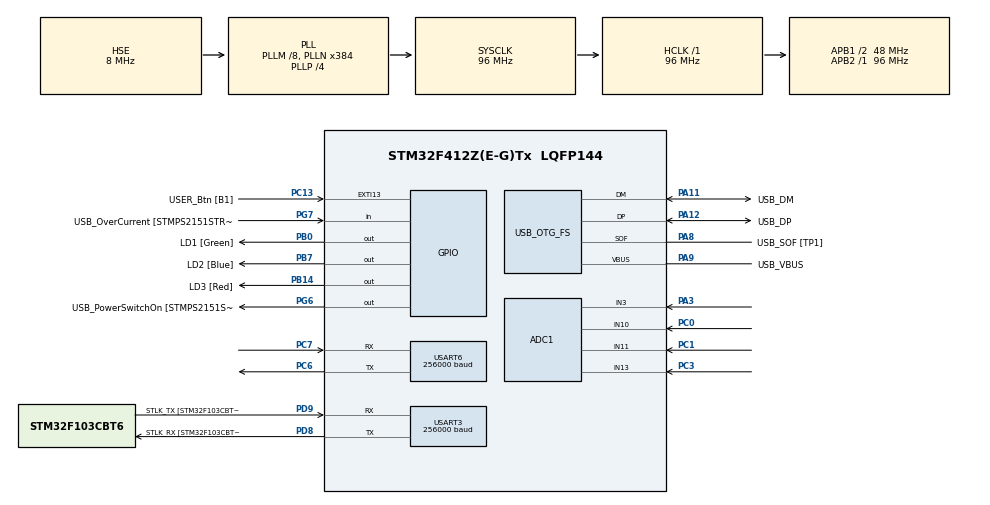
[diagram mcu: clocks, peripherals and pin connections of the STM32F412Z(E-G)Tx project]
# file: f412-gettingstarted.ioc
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ADC1.Channel-0\#ChannelRegularConversion=ADC_CHANNEL_3
ADC1.Channel-1\#ChannelRegularConversion=ADC_CHANNEL_3
ADC1.Channel-2\#ChannelRegularConversion=ADC_CHANNEL_3
ADC1.Channel-3\#ChannelRegularConversion=ADC_CHANNEL_3
ADC1.ContinuousConvMode=ENABLE
ADC1.DataAlign=ADC_DATAALIGN_RIGHT
ADC1.EOCSelection=ADC_EOC_SINGLE_CONV
ADC1.NbrOfConversion=4
ADC1.NbrOfConversionFlag=1
ADC1.Rank-0\#ChannelRegularConversion=1
ADC1.Rank-1\#ChannelRegularConversion=2
ADC1.Rank-2\#ChannelRegularConversion=3
ADC1.Rank-3\#ChannelRegularConversion=4
ADC1.SamplingTime-0\#ChannelRegularConversion=ADC_SAMPLETIME_3CYCLES
ADC1.SamplingTime-1\#ChannelRegularConversion=ADC_SAMPLETIME_3CYCLES
ADC1.SamplingTime-2\#ChannelRegularConversion=ADC_SAMPLETIME_3CYCLES
ADC1.SamplingTime-3\#ChannelRegularConversion=ADC_SAMPLETIME_3CYCLES
ADC1.master=1
Dma.ADC1.0.Direction=DMA_PERIPH_TO_MEMORY
Dma.ADC1.0.FIFOMode=DMA_FIFOMODE_DISABLE
Dma.ADC1.0.Instance=DMA2_Stream0
Dma.ADC1.0.MemDataAlignment=DMA_MDATAALIGN_WORD
Dma.ADC1.0.MemInc=DMA_MINC_ENABLE
Dma.ADC1.0.Mode=DMA_CIRCULAR
Dma.ADC1.0.PeriphDataAlignment=DMA_PDATAALIGN_WORD
Dma.ADC1.0.PeriphInc=DMA_PINC_DISABLE
Dma.ADC1.0.Priority=DMA_PRIORITY_LOW
Dma.Request0=ADC1
Dma.Request1=USART6_TX
Dma.USART6_TX.1.Direction=DMA_MEMORY_TO_PERIPH
Dma.USART6_TX.1.FIFOMode=DMA_FIFOMODE_DISABLE
Dma.USART6_TX.1.Instance=DMA2_Stream6
Dma.USART6_TX.1.MemDataAlignment=DMA_MDATAALIGN_BYTE
Dma.USART6_TX.1.MemInc=DMA_MINC_ENABLE
Dma.USART6_TX.1.Mode=DMA_CIRCULAR
Dma.USART6_TX.1.PeriphDataAlignment=DMA_PDATAALIGN_BYTE
Dma.USART6_TX.1.PeriphInc=DMA_PINC_DISABLE
Dma.USART6_TX.1.Priority=DMA_PRIORITY_LOW
Mcu.Family=STM32F4
Mcu.Name=STM32F412Z(E-G)Tx
Mcu.Package=LQFP144
NVIC.DMA2_Stream0_IRQn=true\:0\:0\:false\:false\:true\:false\:true\:true
NVIC.DMA2_Stream6_IRQn=true\:0\:0\:false\:false\:true\:false\:true\:true
NVIC.PriorityGroup=NVIC_PRIORITYGROUP_4
PA10.GPIO_Label=USB_ID
PA10.Signal=USB_OTG_FS_ID
PA11.GPIO_Label=USB_DM
PA11.Mode=Device_Only
PA11.Signal=USB_OTG_FS_DM
PA12.GPIO_Label=USB_DP
PA12.Mode=Device_Only
PA12.Signal=USB_OTG_FS_DP
PA13.GPIO_Label=TMS
PA13.Mode=Serial_Wire
PA13.Signal=SYS_JTMS-SWDIO
PA14.GPIO_Label=TCK
PA14.Mode=Serial_Wire
PA14.Signal=SYS_JTCK-SWCLK
PA3.Signal=ADCx_IN3
PA8.GPIO_Label=USB_SOF [TP1]
PA8.Mode=Activate_SOF_FS
PA8.Signal=USB_OTG_FS_SOF
PA9.GPIO_Label=USB_VBUS
PA9.Mode=Activate_VBUS
PA9.Signal=USB_OTG_FS_VBUS
PB0.GPIO_Label=LD1 [Green]
PB0.Signal=GPIO_Output
PB14.GPIO_Label=LD3 [Red]
PB14.Signal=GPIO_Output
PB3.GPIO_Label=SWO
PB3.Signal=SYS_JTDO-SWO
PB7.GPIO_Label=LD2 [Blue]
PB7.Signal=GPIO_Output
PC0.Signal=ADCx_IN10
PC1.Signal=ADCx_IN11
PC13.GPIO_Label=USER_Btn [B1]
PC13.Signal=GPXTI13
PC14-OSC32_IN.Mode=LSE-External-Oscillator
PC14-OSC32_IN.Signal=RCC_OSC32_IN
PC15-OSC32_OUT.Mode=LSE-External-Oscillator
PC15-OSC32_OUT.Signal=RCC_OSC32_OUT
PC3.Signal=ADCx_IN13
PC6.Mode=Asynchronous
PC6.Signal=USART6_TX
PC7.Mode=Asynchronous
PC7.Signal=USART6_RX
PD8.GPIO_Label=STLK_RX [STM32F103CBT6_PA3]
PD8.Mode=Asynchronous
PD8.Signal=USART3_TX
PD9.GPIO_Label=STLK_TX [STM32F103CBT6_PA2]
PD9.Mode=Asynchronous
PD9.Signal=USART3_RX
PG6.GPIO_Label=USB_PowerSwitchOn [STMPS2151STR_EN]
PG6.Signal=GPIO_Output
PG7.GPIO_Label=USB_OverCurrent [STMPS2151STR_FAULT]
PG7.Signal=GPIO_Input
PH0\ -\ OSC_IN.GPIO_Label=MCO
PH0\ -\ OSC_IN.Mode=HSE-External-Clock-Source
PH0\ -\ OSC_IN.Signal=RCC_OSC_IN
PH1\ -\ OSC_OUT.Mode=HSE-External-Clock-Source
PH1\ -\ OSC_OUT.Signal=RCC_OSC_OUT
ProjectManager.HeapSize=0x200
ProjectManager.StackSize=0x400
ProjectManager.TargetToolchain=STM32CubeIDE
RCC.48MHZClocksFreq_Value=24000000
RCC.AHBFreq_Value=96000000
RCC.APB1CLKDivider=RCC_HCLK_DIV2
RCC.APB1Freq_Value=48000000
RCC.APB1TimFreq_Value=96000000
RCC.APB2Freq_Value=96000000
RCC.APB2TimFreq_Value=96000000
RCC.CortexFreq_Value=96000000
RCC.HCLKFreq_Value=96000000
RCC.HSE_VALUE=8000000
RCC.HSI_VALUE=16000000
RCC.PLLM=8
RCC.PLLMUL=RCC_PLL_MUL9
RCC.PLLN=384
RCC.PLLP=RCC_PLLP_DIV4
RCC.PLLQ=8
RCC.PRESCALERUSB=RCC_USBCLKSOURCE_PLL_DIV1_5
RCC.SYSCLKFreq_VALUE=96000000
RCC.SYSCLKSource=RCC_SYSCLKSOURCE_PLLCLK
RCC.SYSCLKSourceVirtual=RCC_SYSCLKSOURCE_PLLCLK
RCC.USBFreq_Value=48000000
RCC.VCOOutputFreq_Value=384000000
SH.ADCx_IN10.0=ADC1_IN10,IN10
SH.ADCx_IN11.0=ADC1_IN11,IN11
SH.ADCx_IN13.0=ADC1_IN13,IN13
SH.ADCx_IN3.0=ADC1_IN3,IN3
USART3.BaudRate=256000
USART3.Mode=MODE_TX_RX
USART3.OverSampling=UART_OVERSAMPLING_8
USART3.VirtualMode=VM_ASYNC
USART6.BaudRate=256000
USART6.Mode=MODE_TX
USART6.VirtualMode=VM_ASYNC
USB_OTG_FS.VirtualMode=Device_Only
board=NUCLEO-F412ZG

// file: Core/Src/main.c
/* USER CODE BEGIN Header */
/**
  ******************************************************************************
  * @file           : main.c
  * @brief          : Main program body
  ******************************************************************************
  * @attention
  *
  * Copyright (c) 2023 STMicroelectronics.
  * All rights reserved.
  *
  * This software is licensed under terms that can be found in the LICENSE file
  * in the root directory of this software component.
  * If no LICENSE file comes with this software, it is provided AS-IS.
  *
  ******************************************************************************
  */
/* USER CODE END Header */
#include "main.h"

/* USER CODE BEGIN Includes */
#include <string.h>
#include <stdio.h>
#include <micros.h>
/* USER CODE END Includes */

ADC_HandleTypeDef hadc1;
DMA_HandleTypeDef hdma_adc1;

UART_HandleTypeDef huart3;
UART_HandleTypeDef huart6;
DMA_HandleTypeDef hdma_usart6_tx;

PCD_HandleTypeDef hpcd_USB_OTG_FS;

/* USER CODE BEGIN PV */
volatile uint32_t value[4];
volatile int adcConversionComplete = 0;
char* buf;
/* USER CODE END PV */

void SystemClock_Config(void);
static void MX_GPIO_Init(void);
static void MX_DMA_Init(void);
static void MX_USB_OTG_FS_PCD_Init(void);
static void MX_ADC1_Init(void);
static void MX_USART3_UART_Init(void);
static void MX_USART6_UART_Init(void);

int main(void)
{
  /* USER CODE BEGIN 1 */

//	uint32_t t1;
//	uint32_t t0 = micros();
//	long int dt = 0;
	uint8_t NoChannel;
  /* USER CODE END 1 */

  /* MCU Configuration--------------------------------------------------------*/

  /* Reset of all peripherals, Initializes the Flash interface and the Systick. */
  HAL_Init();

  /* Configure the system clock */
  SystemClock_Config();

  /* Initialize all configured peripherals */
  MX_GPIO_Init();
  MX_DMA_Init();
  MX_USB_OTG_FS_PCD_Init();
  MX_ADC1_Init();
  MX_USART3_UART_Init();
  MX_USART6_UART_Init();
  /* USER CODE BEGIN 2 */

  void HAL_UART_RxCpltCallback(UART_HandleTypeDef *huart)
  {
    HAL_UART_Receive_DMA(&huart6, NoChannel, 4);
  }
  /* USER CODE END 2 */

  /* Infinite loop */
  /* USER CODE BEGIN WHILE */
  while (1)
  {
	  HAL_ADC_Start_DMA(&hadc1, (uint32_t*) value, 4);
//	  HAL_UART_Receive_DMA(&huart6, (int)NoChannel, 4);
	  buf = (char *) malloc(sizeof(value[0]+value[1]+value[2]+value[3])+8);
	  while (adcConversionComplete == 0)
	  {

	  }
	  adcConversionComplete = 0;
	  sprintf(buf,"%0x,%0x,%0x,%0x\r\n",value[0], value[1], value[2], value[3]);
	  HAL_UART_Transmit(&huart6, buf, strlen((char*)buf), HAL_MAX_DELAY);
	  free(buf);
    /* USER CODE END WHILE */

  }
}

void SystemClock_Config(void)
{
  RCC_OscInitTypeDef RCC_OscInitStruct = {0};
  RCC_ClkInitTypeDef RCC_ClkInitStruct = {0};

  /** Configure the main internal regulator output voltage
  */
  __HAL_RCC_PWR_CLK_ENABLE();
  __HAL_PWR_VOLTAGESCALING_CONFIG(PWR_REGULATOR_VOLTAGE_SCALE1);

  /** Initializes the RCC Oscillators according to the specified parameters
  * in the RCC_OscInitTypeDef structure.
  */
  RCC_OscInitStruct.OscillatorType = RCC_OSCILLATORTYPE_HSE;
  RCC_OscInitStruct.HSEState = RCC_HSE_BYPASS;
  RCC_OscInitStruct.PLL.PLLState = RCC_PLL_ON;
  RCC_OscInitStruct.PLL.PLLSource = RCC_PLLSOURCE_HSE;
  RCC_OscInitStruct.PLL.PLLM = 8;
  RCC_OscInitStruct.PLL.PLLN = 384;
  RCC_OscInitStruct.PLL.PLLP = RCC_PLLP_DIV4;
  RCC_OscInitStruct.PLL.PLLQ = 8;
  RCC_OscInitStruct.PLL.PLLR = 2;
  if (HAL_RCC_OscConfig(&RCC_OscInitStruct) != HAL_OK)
  {
    Error_Handler();
  }

  /** Initializes the CPU, AHB and APB buses clocks
  */
  RCC_ClkInitStruct.ClockType = RCC_CLOCKTYPE_HCLK|RCC_CLOCKTYPE_SYSCLK
                              |RCC_CLOCKTYPE_PCLK1|RCC_CLOCKTYPE_PCLK2;
  RCC_ClkInitStruct.SYSCLKSource = RCC_SYSCLKSOURCE_PLLCLK;
  RCC_ClkInitStruct.AHBCLKDivider = RCC_SYSCLK_DIV1;
  RCC_ClkInitStruct.APB1CLKDivider = RCC_HCLK_DIV2;
  RCC_ClkInitStruct.APB2CLKDivider = RCC_HCLK_DIV1;

  if (HAL_RCC_ClockConfig(&RCC_ClkInitStruct, FLASH_LATENCY_3) != HAL_OK)
  {
    Error_Handler();
  }
}

static void MX_ADC1_Init(void)
{

  ADC_ChannelConfTypeDef sConfig = {0};

  /** Configure the global features of the ADC (Clock, Resolution, Data Alignment and number of conversion)
  */
  hadc1.Instance = ADC1;
  hadc1.Init.ClockPrescaler = ADC_CLOCK_SYNC_PCLK_DIV4;
  hadc1.Init.Resolution = ADC_RESOLUTION_12B;
  hadc1.Init.ScanConvMode = ENABLE;
  hadc1.Init.ContinuousConvMode = ENABLE;
  hadc1.Init.DiscontinuousConvMode = DISABLE;
  hadc1.Init.ExternalTrigConvEdge = ADC_EXTERNALTRIGCONVEDGE_NONE;
  hadc1.Init.ExternalTrigConv = ADC_SOFTWARE_START;
  hadc1.Init.DataAlign = ADC_DATAALIGN_RIGHT;
  hadc1.Init.NbrOfConversion = 4;
  hadc1.Init.DMAContinuousRequests = DISABLE;
  hadc1.Init.EOCSelection = ADC_EOC_SINGLE_CONV;
  if (HAL_ADC_Init(&hadc1) != HAL_OK)
  {
    Error_Handler();
  }

  /** Configure for the selected ADC regular channel its corresponding rank in the sequencer and its sample time.
  */
  sConfig.Channel = ADC_CHANNEL_3;
  sConfig.Rank = 1;
  sConfig.SamplingTime = ADC_SAMPLETIME_3CYCLES;
  if (HAL_ADC_ConfigChannel(&hadc1, &sConfig) != HAL_OK)
  {
    Error_Handler();
  }

  /** Configure for the selected ADC regular channel its corresponding rank in the sequencer and its sample time.
  */
  sConfig.Rank = 2;
  if (HAL_ADC_ConfigChannel(&hadc1, &sConfig) != HAL_OK)
  {
    Error_Handler();
  }

  /** Configure for the selected ADC regular channel its corresponding rank in the sequencer and its sample time.
  */
  sConfig.Rank = 3;
  if (HAL_ADC_ConfigChannel(&hadc1, &sConfig) != HAL_OK)
  {
    Error_Handler();
  }

  /** Configure for the selected ADC regular channel its corresponding rank in the sequencer and its sample time.
  */
  sConfig.Rank = 4;
  if (HAL_ADC_ConfigChannel(&hadc1, &sConfig) != HAL_OK)
  {
    Error_Handler();
  }

}

static void MX_USART3_UART_Init(void)
{

  huart3.Instance = USART3;
  huart3.Init.BaudRate = 256000;
  huart3.Init.WordLength = UART_WORDLENGTH_8B;
  huart3.Init.StopBits = UART_STOPBITS_1;
  huart3.Init.Parity = UART_PARITY_NONE;
  huart3.Init.Mode = UART_MODE_TX_RX;
  huart3.Init.HwFlowCtl = UART_HWCONTROL_NONE;
  huart3.Init.OverSampling = UART_OVERSAMPLING_8;
  if (HAL_UART_Init(&huart3) != HAL_OK)
  {
    Error_Handler();
  }

}

static void MX_USART6_UART_Init(void)
{

  huart6.Instance = USART6;
  huart6.Init.BaudRate = 256000;
  huart6.Init.WordLength = UART_WORDLENGTH_8B;
  huart6.Init.StopBits = UART_STOPBITS_1;
  huart6.Init.Parity = UART_PARITY_NONE;
  huart6.Init.Mode = UART_MODE_TX;
  huart6.Init.HwFlowCtl = UART_HWCONTROL_NONE;
  huart6.Init.OverSampling = UART_OVERSAMPLING_16;
  if (HAL_UART_Init(&huart6) != HAL_OK)
  {
    Error_Handler();
  }

}

static void MX_USB_OTG_FS_PCD_Init(void)
{

  hpcd_USB_OTG_FS.Instance = USB_OTG_FS;
  hpcd_USB_OTG_FS.Init.dev_endpoints = 6;
  hpcd_USB_OTG_FS.Init.speed = PCD_SPEED_FULL;
  hpcd_USB_OTG_FS.Init.dma_enable = DISABLE;
  hpcd_USB_OTG_FS.Init.phy_itface = PCD_PHY_EMBEDDED;
  hpcd_USB_OTG_FS.Init.Sof_enable = ENABLE;
  hpcd_USB_OTG_FS.Init.low_power_enable = DISABLE;
  hpcd_USB_OTG_FS.Init.lpm_enable = DISABLE;
  hpcd_USB_OTG_FS.Init.battery_charging_enable = ENABLE;
  hpcd_USB_OTG_FS.Init.vbus_sensing_enable = ENABLE;
  hpcd_USB_OTG_FS.Init.use_dedicated_ep1 = DISABLE;
  if (HAL_PCD_Init(&hpcd_USB_OTG_FS) != HAL_OK)
  {
    Error_Handler();
  }

}

static void MX_DMA_Init(void)
{

  /* DMA controller clock enable */
  __HAL_RCC_DMA2_CLK_ENABLE();

  /* DMA interrupt init */
  /* DMA2_Stream0_IRQn interrupt configuration */
  HAL_NVIC_SetPriority(DMA2_Stream0_IRQn, 0, 0);
  HAL_NVIC_EnableIRQ(DMA2_Stream0_IRQn);
  /* DMA2_Stream6_IRQn interrupt configuration */
  HAL_NVIC_SetPriority(DMA2_Stream6_IRQn, 0, 0);
  HAL_NVIC_EnableIRQ(DMA2_Stream6_IRQn);

}

static void MX_GPIO_Init(void)
{
  GPIO_InitTypeDef GPIO_InitStruct = {0};

  /* GPIO Ports Clock Enable */
  __HAL_RCC_GPIOC_CLK_ENABLE();
  __HAL_RCC_GPIOH_CLK_ENABLE();
  __HAL_RCC_GPIOA_CLK_ENABLE();
  __HAL_RCC_GPIOB_CLK_ENABLE();
  __HAL_RCC_GPIOD_CLK_ENABLE();
  __HAL_RCC_GPIOG_CLK_ENABLE();

  /*Configure GPIO pin Output Level */
  HAL_GPIO_WritePin(GPIOB, LD1_Pin|LD3_Pin|LD2_Pin, GPIO_PIN_RESET);

  /*Configure GPIO pin Output Level */
  HAL_GPIO_WritePin(USB_PowerSwitchOn_GPIO_Port, USB_PowerSwitchOn_Pin, GPIO_PIN_RESET);

  /*Configure GPIO pin : USER_Btn_Pin */
  GPIO_InitStruct.Pin = USER_Btn_Pin;
  GPIO_InitStruct.Mode = GPIO_MODE_IT_RISING;
  GPIO_InitStruct.Pull = GPIO_NOPULL;
  HAL_GPIO_Init(USER_Btn_GPIO_Port, &GPIO_InitStruct);

  /*Configure GPIO pins : LD1_Pin LD3_Pin LD2_Pin */
  GPIO_InitStruct.Pin = LD1_Pin|LD3_Pin|LD2_Pin;
  GPIO_InitStruct.Mode = GPIO_MODE_OUTPUT_PP;
  GPIO_InitStruct.Pull = GPIO_NOPULL;
  GPIO_InitStruct.Speed = GPIO_SPEED_FREQ_LOW;
  HAL_GPIO_Init(GPIOB, &GPIO_InitStruct);

  /*Configure GPIO pin : USB_PowerSwitchOn_Pin */
  GPIO_InitStruct.Pin = USB_PowerSwitchOn_Pin;
  GPIO_InitStruct.Mode = GPIO_MODE_OUTPUT_PP;
  GPIO_InitStruct.Pull = GPIO_NOPULL;
  GPIO_InitStruct.Speed = GPIO_SPEED_FREQ_LOW;
  HAL_GPIO_Init(USB_PowerSwitchOn_GPIO_Port, &GPIO_InitStruct);

  /*Configure GPIO pin : USB_OverCurrent_Pin */
  GPIO_InitStruct.Pin = USB_OverCurrent_Pin;
  GPIO_InitStruct.Mode = GPIO_MODE_INPUT;
  GPIO_InitStruct.Pull = GPIO_NOPULL;
  HAL_GPIO_Init(USB_OverCurrent_GPIO_Port, &GPIO_InitStruct);

}

/* USER CODE BEGIN 4 */
void HAL_ADC_ConvCpltCallback(ADC_HandleTypeDef *hadc)
{
	adcConversionComplete = 1;
}
/* USER CODE END 4 */

void Error_Handler(void)
{
  __disable_irq();
  while (1)
  {
  }
}
